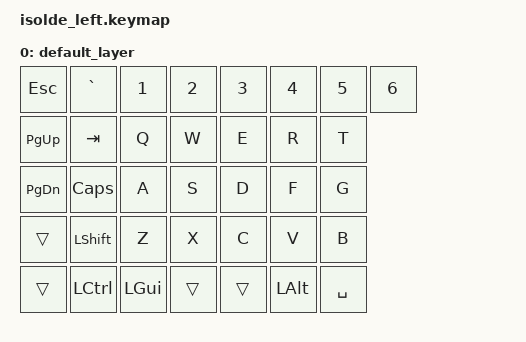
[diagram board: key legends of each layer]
// This file was generated from a template. Edit it to match your keyboard.
// See https://zmk.dev/docs/development/hardware-integration/new-shield for more instructions.

#include <behaviors.dtsi>
#include <dt-bindings/zmk/keys.h>

/ {
    // Define a default keymap here.
    // See https://zmk.dev/docs/development/hardware-integration/new-shield#default-keymap.
    keymap {
        compatible = "zmk,keymap";

        default_layer {
            bindings = <
                &kp ESC   &kp GRAVE  &kp N1          &kp N2  &kp N3  &kp N4   &kp N5         &kp N6 
                &kp PG_UP &kp TAB    &kp Q           &kp W   &kp E   &kp R    &kp T          
                &kp PG_DN &kp CAPS   &kp A           &kp S   &kp D   &kp F    &kp G         
                &trans     &kp LSHFT  &kp Z           &kp X   &kp C   &kp V    &kp B          
                &trans     &kp LCTRL  &kp LGUI        &trans   &trans   &kp LALT &kp SPACE     
            >;
        };
    };
};
